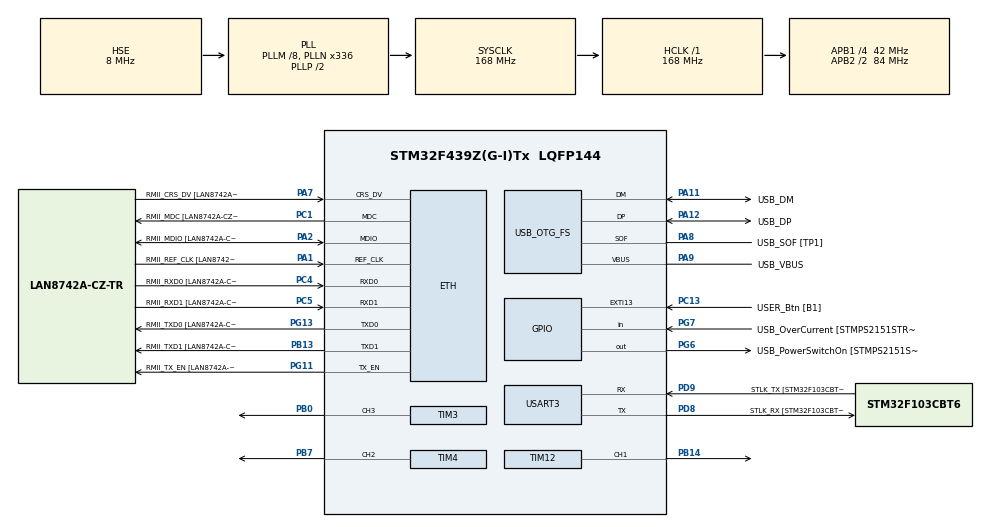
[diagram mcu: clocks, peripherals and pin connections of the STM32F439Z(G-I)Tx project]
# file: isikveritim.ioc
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Dma.Request0=USART3_RX
Dma.USART3_RX.0.Direction=DMA_PERIPH_TO_MEMORY
Dma.USART3_RX.0.FIFOMode=DMA_FIFOMODE_DISABLE
Dma.USART3_RX.0.Instance=DMA1_Stream1
Dma.USART3_RX.0.MemDataAlignment=DMA_MDATAALIGN_BYTE
Dma.USART3_RX.0.MemInc=DMA_MINC_ENABLE
Dma.USART3_RX.0.Mode=DMA_CIRCULAR
Dma.USART3_RX.0.PeriphDataAlignment=DMA_PDATAALIGN_BYTE
Dma.USART3_RX.0.PeriphInc=DMA_PINC_DISABLE
Dma.USART3_RX.0.Priority=DMA_PRIORITY_LOW
ETH.MediaInterface=HAL_ETH_RMII_MODE
ETH.PHY_Name=LAN8742A_PHY_ADDRESS
ETH.PHY_Value=0
ETH.PhyAddress=0
FREERTOS.Tasks01=defaultTask,0,128,StartDefaultTask,Default,NULL,Dynamic,NULL,NULL
Mcu.Family=STM32F4
Mcu.Name=STM32F439Z(G-I)Tx
Mcu.Package=LQFP144
NVIC.DMA1_Stream1_IRQn=true\:5\:0\:false\:false\:true\:true\:false\:true\:true
NVIC.PriorityGroup=NVIC_PRIORITYGROUP_4
NVIC.TIM1_UP_TIM10_IRQn=true\:15\:0\:false\:false\:true\:false\:false\:true\:true
NVIC.TimeBase=TIM1_UP_TIM10_IRQn
NVIC.TimeBaseIP=TIM1
NVIC.USART3_IRQn=true\:5\:0\:false\:false\:true\:true\:true\:true\:true
PA1.GPIO_Label=RMII_REF_CLK [LAN8742A-CZ-TR_REFCLK0]
PA1.Mode=RMII
PA1.Signal=ETH_REF_CLK
PA10.GPIO_Label=USB_ID
PA10.Signal=USB_OTG_FS_ID
PA11.GPIO_Label=USB_DM
PA11.Mode=Device_Only
PA11.Signal=USB_OTG_FS_DM
PA12.GPIO_Label=USB_DP
PA12.Mode=Device_Only
PA12.Signal=USB_OTG_FS_DP
PA13.GPIO_Label=TMS
PA13.Mode=Serial_Wire
PA13.Signal=SYS_JTMS-SWDIO
PA14.GPIO_Label=TCK
PA14.Mode=Serial_Wire
PA14.Signal=SYS_JTCK-SWCLK
PA2.GPIO_Label=RMII_MDIO [LAN8742A-CZ-TR_MDIO]
PA2.Mode=RMII
PA2.Signal=ETH_MDIO
PA7.GPIO_Label=RMII_CRS_DV [LAN8742A-CZ-TR_CRS_DV]
PA7.Mode=RMII
PA7.Signal=ETH_CRS_DV
PA8.GPIO_Label=USB_SOF [TP1]
PA8.Mode=Activate_SOF_FS
PA8.Signal=USB_OTG_FS_SOF
PA9.GPIO_Label=USB_VBUS
PA9.Mode=Activate_VBUS
PA9.Signal=USB_OTG_FS_VBUS
PB0.Signal=S_TIM3_CH3
PB13.GPIO_Label=RMII_TXD1 [LAN8742A-CZ-TR_TXD1]
PB13.Mode=RMII
PB13.Signal=ETH_TXD1
PB14.Signal=S_TIM12_CH1
PB7.Signal=S_TIM4_CH2
PC1.GPIO_Label=RMII_MDC [LAN8742A-CZ-TR_MDC]
PC1.Mode=RMII
PC1.Signal=ETH_MDC
PC13.GPIO_Label=USER_Btn [B1]
PC13.Signal=GPXTI13
PC14/OSC32_IN.Mode=LSE-External-Oscillator
PC14/OSC32_IN.Signal=RCC_OSC32_IN
PC15/OSC32_OUT.Mode=LSE-External-Oscillator
PC15/OSC32_OUT.Signal=RCC_OSC32_OUT
PC4.GPIO_Label=RMII_RXD0 [LAN8742A-CZ-TR_RXD0]
PC4.Mode=RMII
PC4.Signal=ETH_RXD0
PC5.GPIO_Label=RMII_RXD1 [LAN8742A-CZ-TR_RXD1]
PC5.Mode=RMII
PC5.Signal=ETH_RXD1
PD8.GPIO_Label=STLK_RX [STM32F103CBT6_PA3]
PD8.Mode=Asynchronous
PD8.Signal=USART3_TX
PD9.GPIO_Label=STLK_TX [STM32F103CBT6_PA2]
PD9.Mode=Asynchronous
PD9.Signal=USART3_RX
PG11.GPIO_Label=RMII_TX_EN [LAN8742A-CZ-TR_TXEN]
PG11.Mode=RMII
PG11.Signal=ETH_TX_EN
PG13.GPIO_Label=RMII_TXD0 [LAN8742A-CZ-TR_TXD0]
PG13.Mode=RMII
PG13.Signal=ETH_TXD0
PG6.GPIO_Label=USB_PowerSwitchOn [STMPS2151STR_EN]
PG6.Signal=GPIO_Output
PG7.GPIO_Label=USB_OverCurrent [STMPS2151STR_FAULT]
PG7.Signal=GPIO_Input
PH0/OSC_IN.GPIO_Label=MCO [STM32F103CBT6_PA8]
PH0/OSC_IN.Mode=HSE-External-Clock-Source
PH0/OSC_IN.Signal=RCC_OSC_IN
PH1/OSC_OUT.Mode=HSE-External-Clock-Source
PH1/OSC_OUT.Signal=RCC_OSC_OUT
ProjectManager.HeapSize=0x200
ProjectManager.StackSize=0x400
ProjectManager.TargetToolchain=STM32CubeIDE
RCC.48MHZClocksFreq_Value=48000000
RCC.AHBFreq_Value=168000000
RCC.APB1CLKDivider=RCC_HCLK_DIV4
RCC.APB1Freq_Value=42000000
RCC.APB1TimFreq_Value=84000000
RCC.APB2CLKDivider=RCC_HCLK_DIV2
RCC.APB2Freq_Value=84000000
RCC.APB2TimFreq_Value=168000000
RCC.CortexFreq_Value=168000000
RCC.HCLKFreq_Value=168000000
RCC.HSE_VALUE=8000000
RCC.HSI_VALUE=16000000
RCC.PLLM=8
RCC.PLLMUL=RCC_PLL_MUL9
RCC.PLLN=336
RCC.PLLQ=7
RCC.PRESCALERUSB=RCC_USBCLKSOURCE_PLL_DIV1_5
RCC.SYSCLKFreq_VALUE=168000000
RCC.SYSCLKSource=RCC_SYSCLKSOURCE_PLLCLK
RCC.SYSCLKSourceVirtual=RCC_SYSCLKSOURCE_PLLCLK
RCC.USBFreq_Value=48000000
RCC.VCOOutputFreq_Value=336000000
SH.S_TIM12_CH1.0=TIM12_CH1,PWM Generation1 CH1
SH.S_TIM3_CH3.0=TIM3_CH3,PWM Generation3 CH3
SH.S_TIM4_CH2.0=TIM4_CH2,PWM Generation2 CH2
TIM12.Channel-PWM\ Generation1\ CH1=TIM_CHANNEL_1
TIM12.Period=999
TIM12.Prescaler=83
TIM3.Channel-PWM\ Generation3\ CH3=TIM_CHANNEL_3
TIM3.Period=999
TIM3.Prescaler=83
TIM4.Channel-PWM\ Generation2\ CH2=TIM_CHANNEL_2
TIM4.Period=999
TIM4.Prescaler=83
USART3.VirtualMode=VM_ASYNC
USB_OTG_FS.VirtualMode=Device_Only
VP_FREERTOS_VS_CMSIS_V1.Mode=CMSIS_V1
VP_SYS_VS_tim1.Mode=TIM1
VP_TIM3_VS_ClockSourceINT.Mode=Internal
VP_TIM4_VS_ClockSourceINT.Mode=Internal
board=NUCLEO-F439ZI

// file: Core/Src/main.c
/* USER CODE BEGIN Header */
/**
  ******************************************************************************
  * @file           : main.c
  * @brief          : Main program body
  ******************************************************************************
  * @attention
  *
  * Copyright (c) 2026 STMicroelectronics.
  * All rights reserved.
  *
  * This software is licensed under terms that can be found in the LICENSE file
  * in the root directory of this software component.
  * If no LICENSE file comes with this software, it is provided AS-IS.
  *
  ******************************************************************************
  */
/* USER CODE END Header */
#include "main.h"
#include "string.h"
#include "cmsis_os.h"

ETH_TxPacketConfig TxConfig;
ETH_DMADescTypeDef  DMARxDscrTab[ETH_RX_DESC_CNT]; /* Ethernet Rx DMA Descriptors */
ETH_DMADescTypeDef  DMATxDscrTab[ETH_TX_DESC_CNT]; /* Ethernet Tx DMA Descriptors */

ETH_HandleTypeDef heth;

TIM_HandleTypeDef htim3;
TIM_HandleTypeDef htim4;
TIM_HandleTypeDef htim12;

UART_HandleTypeDef huart3;
DMA_HandleTypeDef hdma_usart3_rx;

PCD_HandleTypeDef hpcd_USB_OTG_FS;

osThreadId defaultTaskHandle;
/* USER CODE BEGIN PV */
uint8_t rx_data[6];
volatile uint8_t new_data = 0; // Changed from 'yeni_veri' to 'new_data'
/* USER CODE END PV */

void SystemClock_Config(void);
static void MX_GPIO_Init(void);
static void MX_DMA_Init(void);
static void MX_ETH_Init(void);
static void MX_TIM3_Init(void);
static void MX_TIM4_Init(void);
static void MX_TIM12_Init(void);
static void MX_USART3_UART_Init(void);
static void MX_USB_OTG_FS_PCD_Init(void);
void StartDefaultTask(void const * argument);

int main(void)
{

  /* MCU Configuration--------------------------------------------------------*/

  /* Reset of all peripherals, Initializes the Flash interface and the Systick. */
  HAL_Init();

  /* Configure the system clock */
  SystemClock_Config();

  /* Initialize all configured peripherals */
  MX_GPIO_Init();
  MX_DMA_Init();
  MX_ETH_Init();
  MX_TIM3_Init();
  MX_TIM4_Init();
  MX_TIM12_Init();
  MX_USART3_UART_Init();
  MX_USB_OTG_FS_PCD_Init();
  /* USER CODE BEGIN 2 */
HAL_TIM_PWM_Start(&htim3, TIM_CHANNEL_3);
HAL_TIM_PWM_Start(&htim4, TIM_CHANNEL_2);
HAL_TIM_PWM_Start(&htim12, TIM_CHANNEL_1);

HAL_UART_Receive_DMA(&huart3, rx_data, 6);
  /* USER CODE END 2 */

  /* Create the thread(s) */
  /* definition and creation of defaultTask */
  osThreadDef(defaultTask, StartDefaultTask, osPriorityNormal, 0, 128);
  defaultTaskHandle = osThreadCreate(osThread(defaultTask), NULL);

  /* Start scheduler */
  osKernelStart();

  /* We should never get here as control is now taken by the scheduler */

  /* Infinite loop */
  while (1)
  {

}
}

void SystemClock_Config(void)
{
  RCC_OscInitTypeDef RCC_OscInitStruct = {0};
  RCC_ClkInitTypeDef RCC_ClkInitStruct = {0};

  /** Configure the main internal regulator output voltage
  */
  __HAL_RCC_PWR_CLK_ENABLE();
  __HAL_PWR_VOLTAGESCALING_CONFIG(PWR_REGULATOR_VOLTAGE_SCALE1);

  /** Initializes the RCC Oscillators according to the specified parameters
  * in the RCC_OscInitTypeDef structure.
  */
  RCC_OscInitStruct.OscillatorType = RCC_OSCILLATORTYPE_HSE;
  RCC_OscInitStruct.HSEState = RCC_HSE_BYPASS;
  RCC_OscInitStruct.PLL.PLLState = RCC_PLL_ON;
  RCC_OscInitStruct.PLL.PLLSource = RCC_PLLSOURCE_HSE;
  RCC_OscInitStruct.PLL.PLLM = 8;
  RCC_OscInitStruct.PLL.PLLN = 336;
  RCC_OscInitStruct.PLL.PLLP = RCC_PLLP_DIV2;
  RCC_OscInitStruct.PLL.PLLQ = 7;
  if (HAL_RCC_OscConfig(&RCC_OscInitStruct) != HAL_OK)
  {
    Error_Handler();
  }

  /** Initializes the CPU, AHB and APB buses clocks
  */
  RCC_ClkInitStruct.ClockType = RCC_CLOCKTYPE_HCLK|RCC_CLOCKTYPE_SYSCLK
                              |RCC_CLOCKTYPE_PCLK1|RCC_CLOCKTYPE_PCLK2;
  RCC_ClkInitStruct.SYSCLKSource = RCC_SYSCLKSOURCE_PLLCLK;
  RCC_ClkInitStruct.AHBCLKDivider = RCC_SYSCLK_DIV1;
  RCC_ClkInitStruct.APB1CLKDivider = RCC_HCLK_DIV4;
  RCC_ClkInitStruct.APB2CLKDivider = RCC_HCLK_DIV2;

  if (HAL_RCC_ClockConfig(&RCC_ClkInitStruct, FLASH_LATENCY_5) != HAL_OK)
  {
    Error_Handler();
  }
}

static void MX_ETH_Init(void)
{

   static uint8_t MACAddr[6];

  heth.Instance = ETH;
  MACAddr[0] = 0x00;
  MACAddr[1] = 0x80;
  MACAddr[2] = 0xE1;
  MACAddr[3] = 0x00;
  MACAddr[4] = 0x00;
  MACAddr[5] = 0x00;
  heth.Init.MACAddr = &MACAddr[0];
  heth.Init.MediaInterface = HAL_ETH_RMII_MODE;
  heth.Init.TxDesc = DMATxDscrTab;
  heth.Init.RxDesc = DMARxDscrTab;
  heth.Init.RxBuffLen = 1524;

  if (HAL_ETH_Init(&heth) != HAL_OK)
  {
    Error_Handler();
  }

  memset(&TxConfig, 0 , sizeof(ETH_TxPacketConfig));
  TxConfig.Attributes = ETH_TX_PACKETS_FEATURES_CSUM | ETH_TX_PACKETS_FEATURES_CRCPAD;
  TxConfig.ChecksumCtrl = ETH_CHECKSUM_IPHDR_PAYLOAD_INSERT_PHDR_CALC;
  TxConfig.CRCPadCtrl = ETH_CRC_PAD_INSERT;

}

static void MX_TIM3_Init(void)
{

  TIM_ClockConfigTypeDef sClockSourceConfig = {0};
  TIM_MasterConfigTypeDef sMasterConfig = {0};
  TIM_OC_InitTypeDef sConfigOC = {0};

  htim3.Instance = TIM3;
  htim3.Init.Prescaler = 83;
  htim3.Init.CounterMode = TIM_COUNTERMODE_UP;
  htim3.Init.Period = 999;
  htim3.Init.ClockDivision = TIM_CLOCKDIVISION_DIV1;
  htim3.Init.AutoReloadPreload = TIM_AUTORELOAD_PRELOAD_DISABLE;
  if (HAL_TIM_Base_Init(&htim3) != HAL_OK)
  {
    Error_Handler();
  }
  sClockSourceConfig.ClockSource = TIM_CLOCKSOURCE_INTERNAL;
  if (HAL_TIM_ConfigClockSource(&htim3, &sClockSourceConfig) != HAL_OK)
  {
    Error_Handler();
  }
  if (HAL_TIM_PWM_Init(&htim3) != HAL_OK)
  {
    Error_Handler();
  }
  sMasterConfig.MasterOutputTrigger = TIM_TRGO_RESET;
  sMasterConfig.MasterSlaveMode = TIM_MASTERSLAVEMODE_DISABLE;
  if (HAL_TIMEx_MasterConfigSynchronization(&htim3, &sMasterConfig) != HAL_OK)
  {
    Error_Handler();
  }
  sConfigOC.OCMode = TIM_OCMODE_PWM1;
  sConfigOC.Pulse = 0;
  sConfigOC.OCPolarity = TIM_OCPOLARITY_HIGH;
  sConfigOC.OCFastMode = TIM_OCFAST_DISABLE;
  if (HAL_TIM_PWM_ConfigChannel(&htim3, &sConfigOC, TIM_CHANNEL_3) != HAL_OK)
  {
    Error_Handler();
  }
  HAL_TIM_MspPostInit(&htim3);

}

static void MX_TIM4_Init(void)
{

  TIM_ClockConfigTypeDef sClockSourceConfig = {0};
  TIM_MasterConfigTypeDef sMasterConfig = {0};
  TIM_OC_InitTypeDef sConfigOC = {0};

  htim4.Instance = TIM4;
  htim4.Init.Prescaler = 83;
  htim4.Init.CounterMode = TIM_COUNTERMODE_UP;
  htim4.Init.Period = 999;
  htim4.Init.ClockDivision = TIM_CLOCKDIVISION_DIV1;
  htim4.Init.AutoReloadPreload = TIM_AUTORELOAD_PRELOAD_DISABLE;
  if (HAL_TIM_Base_Init(&htim4) != HAL_OK)
  {
    Error_Handler();
  }
  sClockSourceConfig.ClockSource = TIM_CLOCKSOURCE_INTERNAL;
  if (HAL_TIM_ConfigClockSource(&htim4, &sClockSourceConfig) != HAL_OK)
  {
    Error_Handler();
  }
  if (HAL_TIM_PWM_Init(&htim4) != HAL_OK)
  {
    Error_Handler();
  }
  sMasterConfig.MasterOutputTrigger = TIM_TRGO_RESET;
  sMasterConfig.MasterSlaveMode = TIM_MASTERSLAVEMODE_DISABLE;
  if (HAL_TIMEx_MasterConfigSynchronization(&htim4, &sMasterConfig) != HAL_OK)
  {
    Error_Handler();
  }
  sConfigOC.OCMode = TIM_OCMODE_PWM1;
  sConfigOC.Pulse = 0;
  sConfigOC.OCPolarity = TIM_OCPOLARITY_HIGH;
  sConfigOC.OCFastMode = TIM_OCFAST_DISABLE;
  if (HAL_TIM_PWM_ConfigChannel(&htim4, &sConfigOC, TIM_CHANNEL_2) != HAL_OK)
  {
    Error_Handler();
  }
  HAL_TIM_MspPostInit(&htim4);

}

static void MX_TIM12_Init(void)
{

  TIM_OC_InitTypeDef sConfigOC = {0};

  htim12.Instance = TIM12;
  htim12.Init.Prescaler = 83;
  htim12.Init.CounterMode = TIM_COUNTERMODE_UP;
  htim12.Init.Period = 999;
  htim12.Init.ClockDivision = TIM_CLOCKDIVISION_DIV1;
  htim12.Init.AutoReloadPreload = TIM_AUTORELOAD_PRELOAD_DISABLE;
  if (HAL_TIM_PWM_Init(&htim12) != HAL_OK)
  {
    Error_Handler();
  }
  sConfigOC.OCMode = TIM_OCMODE_PWM1;
  sConfigOC.Pulse = 0;
  sConfigOC.OCPolarity = TIM_OCPOLARITY_HIGH;
  sConfigOC.OCFastMode = TIM_OCFAST_DISABLE;
  if (HAL_TIM_PWM_ConfigChannel(&htim12, &sConfigOC, TIM_CHANNEL_1) != HAL_OK)
  {
    Error_Handler();
  }
  HAL_TIM_MspPostInit(&htim12);

}

static void MX_USART3_UART_Init(void)
{

  huart3.Instance = USART3;
  huart3.Init.BaudRate = 115200;
  huart3.Init.WordLength = UART_WORDLENGTH_8B;
  huart3.Init.StopBits = UART_STOPBITS_1;
  huart3.Init.Parity = UART_PARITY_NONE;
  huart3.Init.Mode = UART_MODE_TX_RX;
  huart3.Init.HwFlowCtl = UART_HWCONTROL_NONE;
  huart3.Init.OverSampling = UART_OVERSAMPLING_16;
  if (HAL_UART_Init(&huart3) != HAL_OK)
  {
    Error_Handler();
  }

}

static void MX_USB_OTG_FS_PCD_Init(void)
{

  hpcd_USB_OTG_FS.Instance = USB_OTG_FS;
  hpcd_USB_OTG_FS.Init.dev_endpoints = 4;
  hpcd_USB_OTG_FS.Init.speed = PCD_SPEED_FULL;
  hpcd_USB_OTG_FS.Init.dma_enable = DISABLE;
  hpcd_USB_OTG_FS.Init.phy_itface = PCD_PHY_EMBEDDED;
  hpcd_USB_OTG_FS.Init.Sof_enable = ENABLE;
  hpcd_USB_OTG_FS.Init.low_power_enable = DISABLE;
  hpcd_USB_OTG_FS.Init.lpm_enable = DISABLE;
  hpcd_USB_OTG_FS.Init.vbus_sensing_enable = ENABLE;
  hpcd_USB_OTG_FS.Init.use_dedicated_ep1 = DISABLE;
  if (HAL_PCD_Init(&hpcd_USB_OTG_FS) != HAL_OK)
  {
    Error_Handler();
  }

}

static void MX_DMA_Init(void)
{

  /* DMA controller clock enable */
  __HAL_RCC_DMA1_CLK_ENABLE();

  /* DMA interrupt init */
  /* DMA1_Stream1_IRQn interrupt configuration */
  HAL_NVIC_SetPriority(DMA1_Stream1_IRQn, 5, 0);
  HAL_NVIC_EnableIRQ(DMA1_Stream1_IRQn);

}

static void MX_GPIO_Init(void)
{
  GPIO_InitTypeDef GPIO_InitStruct = {0};

  /* GPIO Ports Clock Enable */
  __HAL_RCC_GPIOC_CLK_ENABLE();
  __HAL_RCC_GPIOH_CLK_ENABLE();
  __HAL_RCC_GPIOA_CLK_ENABLE();
  __HAL_RCC_GPIOB_CLK_ENABLE();
  __HAL_RCC_GPIOD_CLK_ENABLE();
  __HAL_RCC_GPIOG_CLK_ENABLE();

  /*Configure GPIO pin Output Level */
  HAL_GPIO_WritePin(USB_PowerSwitchOn_GPIO_Port, USB_PowerSwitchOn_Pin, GPIO_PIN_RESET);

  /*Configure GPIO pin : USER_Btn_Pin */
  GPIO_InitStruct.Pin = USER_Btn_Pin;
  GPIO_InitStruct.Mode = GPIO_MODE_IT_RISING;
  GPIO_InitStruct.Pull = GPIO_NOPULL;
  HAL_GPIO_Init(USER_Btn_GPIO_Port, &GPIO_InitStruct);

  /*Configure GPIO pin : USB_PowerSwitchOn_Pin */
  GPIO_InitStruct.Pin = USB_PowerSwitchOn_Pin;
  GPIO_InitStruct.Mode = GPIO_MODE_OUTPUT_PP;
  GPIO_InitStruct.Pull = GPIO_NOPULL;
  GPIO_InitStruct.Speed = GPIO_SPEED_FREQ_LOW;
  HAL_GPIO_Init(USB_PowerSwitchOn_GPIO_Port, &GPIO_InitStruct);

  /*Configure GPIO pin : USB_OverCurrent_Pin */
  GPIO_InitStruct.Pin = USB_OverCurrent_Pin;
  GPIO_InitStruct.Mode = GPIO_MODE_INPUT;
  GPIO_InitStruct.Pull = GPIO_NOPULL;
  HAL_GPIO_Init(USB_OverCurrent_GPIO_Port, &GPIO_InitStruct);

}

/* USER CODE BEGIN 4 */
void HAL_UART_RxCpltCallback(UART_HandleTypeDef *huart)
{
	if(huart->Instance == USART3)
	{
		new_data = 1; // Flag the task that new payload has arrived

		HAL_UART_Receive_DMA(&huart3, rx_data, 6);
	}
}
/* USER CODE END 4 */

void StartDefaultTask(void const * argument)
{
  /* USER CODE BEGIN 5 */
	/* Infinite loop */
	  for(;;)
	  {
	      if(new_data == 1)
	      {
	          // Check security payload (0xFF and 0xFE)
	          if(rx_data[0] == 0xFF && rx_data[5] == 0xFE)
	          {
	              // Map 0-255 byte data from Python to 0-999 PWM range
	              __HAL_TIM_SET_COMPARE(&htim12, TIM_CHANNEL_1, (rx_data[1] * 999) / 255); // Red
	              __HAL_TIM_SET_COMPARE(&htim3,  TIM_CHANNEL_3, (rx_data[2] * 999) / 255); // Green
	              __HAL_TIM_SET_COMPARE(&htim4,  TIM_CHANNEL_2, (rx_data[3] * 999) / 255); // Blue

	              // UNIVERSAL LOGIC: Check duration byte (rx_data[4])
	              if(rx_data[4] > 0)
	              {
	                  // STROBE MODE: If duration is greater than 0, wait and then turn off
	                  osDelay(rx_data[4]);

	                  __HAL_TIM_SET_COMPARE(&htim12, TIM_CHANNEL_1, 0);
	                  __HAL_TIM_SET_COMPARE(&htim3,  TIM_CHANNEL_3, 0);
	                  __HAL_TIM_SET_COMPARE(&htim4,  TIM_CHANNEL_2, 0);
	              }
	              else
	              {
	                  // CONTINUOUS MODE: If duration is 0, do nothing.
	                  // Keep the lights on until a new payload arrives.
	              }
	          }
	          new_data = 0; // Reset flag and wait for the next DMA packet
	      }
	      osDelay(1); // 1ms delay to prevent FreeRTOS system lock
	  }
  /* USER CODE END 5 */
}

void HAL_TIM_PeriodElapsedCallback(TIM_HandleTypeDef *htim)
{
  if (htim->Instance == TIM1)
  {
    HAL_IncTick();
  }
}

void Error_Handler(void)
{
  __disable_irq();
  while (1)
  {
  }
}
